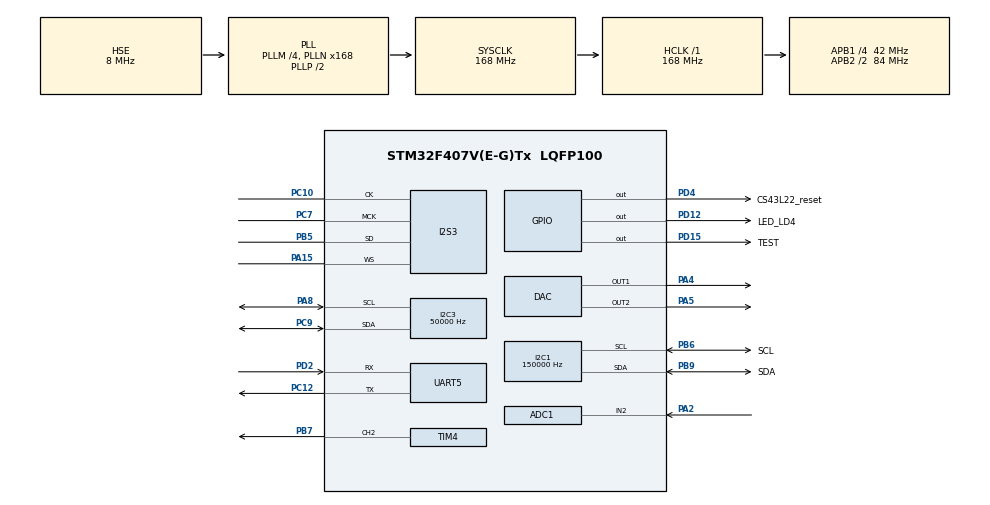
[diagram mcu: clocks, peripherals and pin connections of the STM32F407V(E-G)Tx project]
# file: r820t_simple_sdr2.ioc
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ADC1.Channel-2\#ChannelRegularConversion=ADC_CHANNEL_2
ADC1.DMAContinuousRequests=ENABLE
ADC1.ExternalTrigConv=ADC_EXTERNALTRIGCONV_T3_TRGO
ADC1.NbrOfConversion=1
ADC1.NbrOfConversionFlag=1
ADC1.Rank-2\#ChannelRegularConversion=1
ADC1.SamplingTime-2\#ChannelRegularConversion=ADC_SAMPLETIME_3CYCLES
ADC1.master=1
Dma.ADC1.1.Direction=DMA_PERIPH_TO_MEMORY
Dma.ADC1.1.FIFOMode=DMA_FIFOMODE_ENABLE
Dma.ADC1.1.FIFOThreshold=DMA_FIFO_THRESHOLD_HALFFULL
Dma.ADC1.1.Instance=DMA2_Stream0
Dma.ADC1.1.MemBurst=DMA_MBURST_SINGLE
Dma.ADC1.1.MemDataAlignment=DMA_MDATAALIGN_WORD
Dma.ADC1.1.MemInc=DMA_MINC_ENABLE
Dma.ADC1.1.Mode=DMA_CIRCULAR
Dma.ADC1.1.PeriphBurst=DMA_PBURST_SINGLE
Dma.ADC1.1.PeriphDataAlignment=DMA_PDATAALIGN_WORD
Dma.ADC1.1.PeriphInc=DMA_PINC_DISABLE
Dma.ADC1.1.Priority=DMA_PRIORITY_LOW
Dma.Request0=SPI3_TX
Dma.Request1=ADC1
Dma.SPI3_TX.0.Direction=DMA_MEMORY_TO_PERIPH
Dma.SPI3_TX.0.FIFOMode=DMA_FIFOMODE_ENABLE
Dma.SPI3_TX.0.FIFOThreshold=DMA_FIFO_THRESHOLD_FULL
Dma.SPI3_TX.0.Instance=DMA1_Stream5
Dma.SPI3_TX.0.MemBurst=DMA_MBURST_SINGLE
Dma.SPI3_TX.0.MemDataAlignment=DMA_MDATAALIGN_HALFWORD
Dma.SPI3_TX.0.MemInc=DMA_MINC_ENABLE
Dma.SPI3_TX.0.Mode=DMA_CIRCULAR
Dma.SPI3_TX.0.PeriphBurst=DMA_PBURST_SINGLE
Dma.SPI3_TX.0.PeriphDataAlignment=DMA_PDATAALIGN_HALFWORD
Dma.SPI3_TX.0.PeriphInc=DMA_PINC_DISABLE
Dma.SPI3_TX.0.Priority=DMA_PRIORITY_LOW
I2C1.ClockSpeed=150000
I2C1.I2C_Mode=I2C_Fast
I2C3.ClockSpeed=50000
I2S3.AudioFreq=I2S_AUDIOFREQ_96K
I2S3.ErrorAudioFreq=-2.34 %
I2S3.FullDuplexMode=I2S_FULLDUPLEXMODE_DISABLE
I2S3.Instance=SPI$Index
I2S3.RealAudioFreq=93.75 KHz
I2S3.VirtualMode=I2S_MODE_MASTER
Mcu.Family=STM32F4
Mcu.Name=STM32F407V(E-G)Tx
Mcu.Package=LQFP100
NVIC.DMA1_Stream5_IRQn=true\:0\:0\:false\:false\:true\:false\:true\:true
NVIC.DMA2_Stream0_IRQn=true\:0\:0\:false\:false\:true\:false\:true\:true
NVIC.PriorityGroup=NVIC_PRIORITYGROUP_4
NVIC.UART5_IRQn=true\:0\:0\:false\:false\:true\:true\:true\:true
PA15.Mode=Half_Duplex_Master
PA15.Signal=I2S3_WS
PA2.Signal=ADCx_IN2
PA4.Signal=COMP_DAC1_group
PA5.Signal=COMP_DAC2_group
PA8.Mode=I2C
PA8.Signal=I2C3_SCL
PB5.Mode=Half_Duplex_Master
PB5.Signal=I2S3_SD
PB6.GPIO_Label=SCL
PB6.Mode=I2C
PB6.Signal=I2C1_SCL
PB7.Signal=S_TIM4_CH2
PB9.GPIO_Label=SDA
PB9.Mode=I2C
PB9.Signal=I2C1_SDA
PC10.Mode=Half_Duplex_Master
PC10.Signal=I2S3_CK
PC12.Mode=Asynchronous
PC12.Signal=UART5_TX
PC7.Mode=Master_Clock_Activated
PC7.Signal=I2S3_MCK
PC9.Mode=I2C
PC9.Signal=I2C3_SDA
PD12.GPIO_Label=LED_LD4
PD12.PinState=GPIO_PIN_SET
PD12.Signal=GPIO_Output
PD15.GPIO_Label=TEST
PD15.GPIO_Speed=GPIO_SPEED_FREQ_VERY_HIGH
PD15.Signal=GPIO_Output
PD2.Mode=Asynchronous
PD2.Signal=UART5_RX
PD4.GPIO_Label=CS43L22_reset
PD4.Signal=GPIO_Output
PH0-OSC_IN.Mode=HSE-External-Oscillator
PH0-OSC_IN.Signal=RCC_OSC_IN
PH1-OSC_OUT.Mode=HSE-External-Oscillator
PH1-OSC_OUT.Signal=RCC_OSC_OUT
ProjectManager.HeapSize=0x200
ProjectManager.StackSize=0x400
ProjectManager.TargetToolchain=STM32CubeIDE
RCC.48MHZClocksFreq_Value=84000000
RCC.AHBFreq_Value=168000000
RCC.APB1CLKDivider=RCC_HCLK_DIV4
RCC.APB1Freq_Value=42000000
RCC.APB1TimFreq_Value=84000000
RCC.APB2CLKDivider=RCC_HCLK_DIV2
RCC.APB2Freq_Value=84000000
RCC.APB2TimFreq_Value=168000000
RCC.CortexFreq_Value=168000000
RCC.HCLKFreq_Value=168000000
RCC.HSE_VALUE=8000000
RCC.HSI_VALUE=16000000
RCC.LSE_VALUE=32768
RCC.PLLM=4
RCC.PLLN=168
RCC.PLLSourceVirtual=RCC_PLLSOURCE_HSE
RCC.SYSCLKFreq_VALUE=168000000
RCC.SYSCLKSource=RCC_SYSCLKSOURCE_PLLCLK
RCC.VCOOutputFreq_Value=336000000
SH.ADCx_IN2.0=ADC1_IN2,IN2
SH.COMP_DAC1_group.0=DAC_OUT1,DAC_OUT1
SH.COMP_DAC2_group.0=DAC_OUT2,DAC_OUT2
SH.S_TIM4_CH2.0=TIM4_CH2,PWM Generation2 CH2
TIM3.AutoReloadPreload=TIM_AUTORELOAD_PRELOAD_ENABLE
TIM3.ClockDivision=TIM_CLOCKDIVISION_DIV1
TIM3.CounterMode=TIM_COUNTERMODE_DOWN
TIM3.Period=98
TIM3.Prescaler=0
TIM3.TIM_MasterOutputTrigger=TIM_TRGO_UPDATE
TIM4.AutoReloadPreload=TIM_AUTORELOAD_PRELOAD_ENABLE
TIM4.Channel-PWM\ Generation2\ CH2=TIM_CHANNEL_2
TIM4.Period=8191
TIM4.Prescaler=0
TIM4.Pulse-PWM\ Generation2\ CH2=0
UART5.VirtualMode=Asynchronous
VP_TIM3_VS_ClockSourceINT.Mode=Internal
VP_TIM4_VS_ClockSourceINT.Mode=Internal
board=custom

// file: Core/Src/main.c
/* USER CODE BEGIN Header */
/*
 * STM32F030 driver for R820T2
 * E. Brombaugh 02-12-2017
 * 02-08-2025 Maciej Fajfer - porting to STM32F407, modifications, improvements and Software Defined Radio code
 */
/**
  ******************************************************************************
  * @file           : main.c
  * @brief          : Main program body
  ******************************************************************************
  * @attention
  *
  * Copyright (c) 2025 STMicroelectronics.
  * All rights reserved.
  *
  * This software is licensed under terms that can be found in the LICENSE file
  * in the root directory of this software component.
  * If no LICENSE file comes with this software, it is provided AS-IS.
  *
  ******************************************************************************
  */
/* USER CODE END Header */
#include "main.h"

/* USER CODE BEGIN Includes */
#include <string.h>
#include <stdlib.h>
#include <stdio.h>
#include <math.h>
#include "led.h"
#include "usart.h"
#include "printf.h"
#include "r820t2.h"
#include "cmd.h"
#include "MY_CS43L22.h"
/* USER CODE END Includes */

ADC_HandleTypeDef hadc1;
DMA_HandleTypeDef hdma_adc1;

DAC_HandleTypeDef hdac;

I2C_HandleTypeDef hi2c1;
I2C_HandleTypeDef hi2c3;

I2S_HandleTypeDef hi2s3;
DMA_HandleTypeDef hdma_spi3_tx;

TIM_HandleTypeDef htim3;
TIM_HandleTypeDef htim4;

UART_HandleTypeDef huart5;

/* USER CODE BEGIN PV */
extern uint8_t rxchar;
int16_t dataI2S[4]; //dummy array for I2S
uint32_t v_in_samples[8]; //IF samples array for ADC

//sine, cosine and arsine look-up tables
float sine_arr[N_cos_sin];
float cosine_arr[N_cos_sin];
float asin_arr[N_asin];

extern Output_demod_type_enum Demod_Type;
extern float b[];
extern float a[];
/* USER CODE END PV */

void SystemClock_Config(void);
static void MX_GPIO_Init(void);
static void MX_DMA_Init(void);
static void MX_I2C1_Init(void);
static void MX_I2S3_Init(void);
static void MX_ADC1_Init(void);
static void MX_TIM3_Init(void);
static void MX_I2C3_Init(void);
static void MX_DAC_Init(void);
static void MX_UART5_Init(void);
static void MX_TIM4_Init(void);

int main(void)
{
  /* USER CODE BEGIN 1 */
	//uint8_t regs[32], reg;
	int rxchar_loc;
	uint32_t tick;
  /* USER CODE END 1 */

  /* MCU Configuration--------------------------------------------------------*/

  /* Reset of all peripherals, Initializes the Flash interface and the Systick. */
  HAL_Init();

  /* Configure the system clock */
  SystemClock_Config();

  /* Initialize all configured peripherals */
  MX_GPIO_Init();
  MX_DMA_Init();
  MX_I2C1_Init();
  MX_I2S3_Init();
  MX_ADC1_Init();
  MX_TIM3_Init();
  MX_I2C3_Init();
  MX_DAC_Init();
  MX_UART5_Init();
  MX_TIM4_Init();
  /* USER CODE BEGIN 2 */

  usart_init(&huart5);
  HAL_UART_Receive_IT(&huart5, (uint8_t*) &rxchar, 1);

  /* Startup message */
  UART_printf("\r\n");
  UART_printf("+------------------------------------+\r\n");
  UART_printf("|     Experimental SDR receiver      |\r\n");
  UART_printf("| based on the STM32F407 and R820T2. |\r\n");
  UART_printf("+------------------------------------+\r\n");

  /* init R820T2 */
  R820T2_init(hi2c3);
  R820T2_set_mixer_agc(1);
  R820T2_set_lna_agc(1);

  //R820T2_set_vga_gain_VGA_code(14);
  R820T2_config_VAGC_pin(1); //Enable VAGC pin
  HAL_TIM_PWM_Start(&htim4, TIM_CHANNEL_2); //starting PWM for VAGC pin voltage settings
  R820T2_set_vga_gain_VAGC_pin(48.0); //dB

  UART_printf("R820T2 initialized.\r\n");

  //init CS43L22
  CS43_Init(hi2c1, MODE_ANALOG_);
  CS43_SetVolume(CS43_default_vol); //maximum value without distortion for 3.00 Vpp from DAC is CS43_default_vol=48 for DISCOVERY BOARD
  CS43_Enable_RightLeft(CS43_RIGHT_LEFT);
  CS43_Start();
  UART_printf("CS43L22 initialized.\r\n");

  //TIM3_clk=84 MHz; ARR=98 -> FS_uint_kHz=ceil(TIM3_clk*1000/ARR)=858 kHz
  //F_IF=260 kHz after band pass sampling
  //FS_uint_kHz/F_IF=858/260=33/10 so Step_cos_sin=10 is step and after that is adding modulo N_cos_sin=33 k=mod(k+Step_cos_sin, N_cos_sin)
  float dx = 2.0*M_PI / N_cos_sin; //N_cos_sin=33 samples per sine/cosine period is enough
  uint8_t k = 0;
  for (uint8_t i=0; i<N_cos_sin; i++)
  {
	  sine_arr[i] = sinf(dx*k); //calculating look-up tables with reordering
	  cosine_arr[i] = cosf(dx*k);
	  k = (k + Step_cos_sin) % N_cos_sin; //adding modulo N_cos_sin=33 - unnecessary during real time computing so it can be replace just by counter increment
  }

  dx = 2.0 / N_asin; //step 1-(-1) / N_asin
  for (uint8_t i=0; i<N_asin; i++) asin_arr[i] = asinf(dx*i - 1.0); //calculating look-up table for arsine (needed for FM)

  set_IQ_filters_coeff(b, a, Demod_Type);

  HAL_DAC_Start(&hdac, DAC_CHANNEL_1);
  HAL_DAC_Start(&hdac, DAC_CHANNEL_2);
  HAL_I2S_Transmit_DMA(&hi2s3, (uint16_t *)dataI2S, 4); //starting I2S 16-bits dummy words sending with circular buffer just for MCLK clock for CS43L22

  HAL_TIM_Base_Start(&htim3); //starting timer for ADC triggering
  HAL_ADC_Start_DMA(&hadc1, v_in_samples, 8); //starting DMA for ADC with circular buffer

  /* USER CODE END 2 */

  /* Infinite loop */
  /* USER CODE BEGIN WHILE */
  init_cmd();
  tick = HAL_GetTick() + 100;
  while (1)
  {
    /* USER CODE END WHILE */

    /* USER CODE BEGIN 3 */

	/* UART command processing */
	if((rxchar_loc = usart_getc())!= EOF)
	{
		/* Parse commands */
		cmd_parse(rxchar_loc);
	}

	/* nonblocking wait to flash light */
	if(tick < HAL_GetTick())
	{
		  led_toggle(LED1);
		  tick = HAL_GetTick() + 100;
	}

  }
  /* USER CODE END 3 */
}

void SystemClock_Config(void)
{
  RCC_OscInitTypeDef RCC_OscInitStruct = {0};
  RCC_ClkInitTypeDef RCC_ClkInitStruct = {0};

  /** Configure the main internal regulator output voltage
  */
  __HAL_RCC_PWR_CLK_ENABLE();
  __HAL_PWR_VOLTAGESCALING_CONFIG(PWR_REGULATOR_VOLTAGE_SCALE1);

  /** Initializes the RCC Oscillators according to the specified parameters
  * in the RCC_OscInitTypeDef structure.
  */
  RCC_OscInitStruct.OscillatorType = RCC_OSCILLATORTYPE_HSE;
  RCC_OscInitStruct.HSEState = RCC_HSE_ON;
  RCC_OscInitStruct.PLL.PLLState = RCC_PLL_ON;
  RCC_OscInitStruct.PLL.PLLSource = RCC_PLLSOURCE_HSE;
  RCC_OscInitStruct.PLL.PLLM = 4;
  RCC_OscInitStruct.PLL.PLLN = 168;
  RCC_OscInitStruct.PLL.PLLP = RCC_PLLP_DIV2;
  RCC_OscInitStruct.PLL.PLLQ = 4;
  if (HAL_RCC_OscConfig(&RCC_OscInitStruct) != HAL_OK)
  {
    Error_Handler();
  }

  /** Initializes the CPU, AHB and APB buses clocks
  */
  RCC_ClkInitStruct.ClockType = RCC_CLOCKTYPE_HCLK|RCC_CLOCKTYPE_SYSCLK
                              |RCC_CLOCKTYPE_PCLK1|RCC_CLOCKTYPE_PCLK2;
  RCC_ClkInitStruct.SYSCLKSource = RCC_SYSCLKSOURCE_PLLCLK;
  RCC_ClkInitStruct.AHBCLKDivider = RCC_SYSCLK_DIV1;
  RCC_ClkInitStruct.APB1CLKDivider = RCC_HCLK_DIV4;
  RCC_ClkInitStruct.APB2CLKDivider = RCC_HCLK_DIV2;

  if (HAL_RCC_ClockConfig(&RCC_ClkInitStruct, FLASH_LATENCY_5) != HAL_OK)
  {
    Error_Handler();
  }
}

static void MX_ADC1_Init(void)
{

  ADC_ChannelConfTypeDef sConfig = {0};

  /** Configure the global features of the ADC (Clock, Resolution, Data Alignment and number of conversion)
  */
  hadc1.Instance = ADC1;
  hadc1.Init.ClockPrescaler = ADC_CLOCK_SYNC_PCLK_DIV4;
  hadc1.Init.Resolution = ADC_RESOLUTION_12B;
  hadc1.Init.ScanConvMode = DISABLE;
  hadc1.Init.ContinuousConvMode = DISABLE;
  hadc1.Init.DiscontinuousConvMode = DISABLE;
  hadc1.Init.ExternalTrigConvEdge = ADC_EXTERNALTRIGCONVEDGE_RISING;
  hadc1.Init.ExternalTrigConv = ADC_EXTERNALTRIGCONV_T3_TRGO;
  hadc1.Init.DataAlign = ADC_DATAALIGN_RIGHT;
  hadc1.Init.NbrOfConversion = 1;
  hadc1.Init.DMAContinuousRequests = ENABLE;
  hadc1.Init.EOCSelection = ADC_EOC_SINGLE_CONV;
  if (HAL_ADC_Init(&hadc1) != HAL_OK)
  {
    Error_Handler();
  }

  /** Configure for the selected ADC regular channel its corresponding rank in the sequencer and its sample time.
  */
  sConfig.Channel = ADC_CHANNEL_2;
  sConfig.Rank = 1;
  sConfig.SamplingTime = ADC_SAMPLETIME_3CYCLES;
  if (HAL_ADC_ConfigChannel(&hadc1, &sConfig) != HAL_OK)
  {
    Error_Handler();
  }

}

static void MX_DAC_Init(void)
{

  DAC_ChannelConfTypeDef sConfig = {0};

  /** DAC Initialization
  */
  hdac.Instance = DAC;
  if (HAL_DAC_Init(&hdac) != HAL_OK)
  {
    Error_Handler();
  }

  /** DAC channel OUT1 config
  */
  sConfig.DAC_Trigger = DAC_TRIGGER_NONE;
  sConfig.DAC_OutputBuffer = DAC_OUTPUTBUFFER_ENABLE;
  if (HAL_DAC_ConfigChannel(&hdac, &sConfig, DAC_CHANNEL_1) != HAL_OK)
  {
    Error_Handler();
  }

  /** DAC channel OUT2 config
  */
  if (HAL_DAC_ConfigChannel(&hdac, &sConfig, DAC_CHANNEL_2) != HAL_OK)
  {
    Error_Handler();
  }

}

static void MX_I2C1_Init(void)
{

  hi2c1.Instance = I2C1;
  hi2c1.Init.ClockSpeed = 150000;
  hi2c1.Init.DutyCycle = I2C_DUTYCYCLE_2;
  hi2c1.Init.OwnAddress1 = 0;
  hi2c1.Init.AddressingMode = I2C_ADDRESSINGMODE_7BIT;
  hi2c1.Init.DualAddressMode = I2C_DUALADDRESS_DISABLE;
  hi2c1.Init.OwnAddress2 = 0;
  hi2c1.Init.GeneralCallMode = I2C_GENERALCALL_DISABLE;
  hi2c1.Init.NoStretchMode = I2C_NOSTRETCH_DISABLE;
  if (HAL_I2C_Init(&hi2c1) != HAL_OK)
  {
    Error_Handler();
  }

}

static void MX_I2C3_Init(void)
{

  hi2c3.Instance = I2C3;
  hi2c3.Init.ClockSpeed = 50000;
  hi2c3.Init.DutyCycle = I2C_DUTYCYCLE_2;
  hi2c3.Init.OwnAddress1 = 0;
  hi2c3.Init.AddressingMode = I2C_ADDRESSINGMODE_7BIT;
  hi2c3.Init.DualAddressMode = I2C_DUALADDRESS_DISABLE;
  hi2c3.Init.OwnAddress2 = 0;
  hi2c3.Init.GeneralCallMode = I2C_GENERALCALL_DISABLE;
  hi2c3.Init.NoStretchMode = I2C_NOSTRETCH_DISABLE;
  if (HAL_I2C_Init(&hi2c3) != HAL_OK)
  {
    Error_Handler();
  }

}

static void MX_I2S3_Init(void)
{

  hi2s3.Instance = SPI3;
  hi2s3.Init.Mode = I2S_MODE_MASTER_TX;
  hi2s3.Init.Standard = I2S_STANDARD_PHILIPS;
  hi2s3.Init.DataFormat = I2S_DATAFORMAT_16B;
  hi2s3.Init.MCLKOutput = I2S_MCLKOUTPUT_ENABLE;
  hi2s3.Init.AudioFreq = I2S_AUDIOFREQ_96K;
  hi2s3.Init.CPOL = I2S_CPOL_LOW;
  hi2s3.Init.ClockSource = I2S_CLOCK_PLL;
  hi2s3.Init.FullDuplexMode = I2S_FULLDUPLEXMODE_DISABLE;
  if (HAL_I2S_Init(&hi2s3) != HAL_OK)
  {
    Error_Handler();
  }

}

static void MX_TIM3_Init(void)
{

  TIM_ClockConfigTypeDef sClockSourceConfig = {0};
  TIM_MasterConfigTypeDef sMasterConfig = {0};

  htim3.Instance = TIM3;
  htim3.Init.Prescaler = 0;
  htim3.Init.CounterMode = TIM_COUNTERMODE_DOWN;
  htim3.Init.Period = 98;
  htim3.Init.ClockDivision = TIM_CLOCKDIVISION_DIV1;
  htim3.Init.AutoReloadPreload = TIM_AUTORELOAD_PRELOAD_ENABLE;
  if (HAL_TIM_Base_Init(&htim3) != HAL_OK)
  {
    Error_Handler();
  }
  sClockSourceConfig.ClockSource = TIM_CLOCKSOURCE_INTERNAL;
  if (HAL_TIM_ConfigClockSource(&htim3, &sClockSourceConfig) != HAL_OK)
  {
    Error_Handler();
  }
  sMasterConfig.MasterOutputTrigger = TIM_TRGO_UPDATE;
  sMasterConfig.MasterSlaveMode = TIM_MASTERSLAVEMODE_DISABLE;
  if (HAL_TIMEx_MasterConfigSynchronization(&htim3, &sMasterConfig) != HAL_OK)
  {
    Error_Handler();
  }

}

static void MX_TIM4_Init(void)
{

  TIM_ClockConfigTypeDef sClockSourceConfig = {0};
  TIM_MasterConfigTypeDef sMasterConfig = {0};
  TIM_OC_InitTypeDef sConfigOC = {0};

  htim4.Instance = TIM4;
  htim4.Init.Prescaler = 0;
  htim4.Init.CounterMode = TIM_COUNTERMODE_UP;
  htim4.Init.Period = 8191;
  htim4.Init.ClockDivision = TIM_CLOCKDIVISION_DIV1;
  htim4.Init.AutoReloadPreload = TIM_AUTORELOAD_PRELOAD_ENABLE;
  if (HAL_TIM_Base_Init(&htim4) != HAL_OK)
  {
    Error_Handler();
  }
  sClockSourceConfig.ClockSource = TIM_CLOCKSOURCE_INTERNAL;
  if (HAL_TIM_ConfigClockSource(&htim4, &sClockSourceConfig) != HAL_OK)
  {
    Error_Handler();
  }
  if (HAL_TIM_PWM_Init(&htim4) != HAL_OK)
  {
    Error_Handler();
  }
  sMasterConfig.MasterOutputTrigger = TIM_TRGO_RESET;
  sMasterConfig.MasterSlaveMode = TIM_MASTERSLAVEMODE_DISABLE;
  if (HAL_TIMEx_MasterConfigSynchronization(&htim4, &sMasterConfig) != HAL_OK)
  {
    Error_Handler();
  }
  sConfigOC.OCMode = TIM_OCMODE_PWM1;
  sConfigOC.Pulse = 0;
  sConfigOC.OCPolarity = TIM_OCPOLARITY_HIGH;
  sConfigOC.OCFastMode = TIM_OCFAST_DISABLE;
  if (HAL_TIM_PWM_ConfigChannel(&htim4, &sConfigOC, TIM_CHANNEL_2) != HAL_OK)
  {
    Error_Handler();
  }
  HAL_TIM_MspPostInit(&htim4);

}

static void MX_UART5_Init(void)
{

  huart5.Instance = UART5;
  huart5.Init.BaudRate = 115200;
  huart5.Init.WordLength = UART_WORDLENGTH_8B;
  huart5.Init.StopBits = UART_STOPBITS_1;
  huart5.Init.Parity = UART_PARITY_NONE;
  huart5.Init.Mode = UART_MODE_TX_RX;
  huart5.Init.HwFlowCtl = UART_HWCONTROL_NONE;
  huart5.Init.OverSampling = UART_OVERSAMPLING_16;
  if (HAL_UART_Init(&huart5) != HAL_OK)
  {
    Error_Handler();
  }

}

static void MX_DMA_Init(void)
{

  /* DMA controller clock enable */
  __HAL_RCC_DMA1_CLK_ENABLE();
  __HAL_RCC_DMA2_CLK_ENABLE();

  /* DMA interrupt init */
  /* DMA1_Stream5_IRQn interrupt configuration */
  HAL_NVIC_SetPriority(DMA1_Stream5_IRQn, 0, 0);
  HAL_NVIC_EnableIRQ(DMA1_Stream5_IRQn);
  /* DMA2_Stream0_IRQn interrupt configuration */
  HAL_NVIC_SetPriority(DMA2_Stream0_IRQn, 0, 0);
  HAL_NVIC_EnableIRQ(DMA2_Stream0_IRQn);

}

static void MX_GPIO_Init(void)
{
  GPIO_InitTypeDef GPIO_InitStruct = {0};

  /* GPIO Ports Clock Enable */
  __HAL_RCC_GPIOH_CLK_ENABLE();
  __HAL_RCC_GPIOA_CLK_ENABLE();
  __HAL_RCC_GPIOD_CLK_ENABLE();
  __HAL_RCC_GPIOC_CLK_ENABLE();
  __HAL_RCC_GPIOB_CLK_ENABLE();

  /*Configure GPIO pin Output Level */
  HAL_GPIO_WritePin(LED_LD4_GPIO_Port, LED_LD4_Pin, GPIO_PIN_SET);

  /*Configure GPIO pin Output Level */
  HAL_GPIO_WritePin(GPIOD, TEST_Pin|CS43L22_reset_Pin, GPIO_PIN_RESET);

  /*Configure GPIO pins : LED_LD4_Pin CS43L22_reset_Pin */
  GPIO_InitStruct.Pin = LED_LD4_Pin|CS43L22_reset_Pin;
  GPIO_InitStruct.Mode = GPIO_MODE_OUTPUT_PP;
  GPIO_InitStruct.Pull = GPIO_NOPULL;
  GPIO_InitStruct.Speed = GPIO_SPEED_FREQ_LOW;
  HAL_GPIO_Init(GPIOD, &GPIO_InitStruct);

  /*Configure GPIO pin : TEST_Pin */
  GPIO_InitStruct.Pin = TEST_Pin;
  GPIO_InitStruct.Mode = GPIO_MODE_OUTPUT_PP;
  GPIO_InitStruct.Pull = GPIO_NOPULL;
  GPIO_InitStruct.Speed = GPIO_SPEED_FREQ_VERY_HIGH;
  HAL_GPIO_Init(TEST_GPIO_Port, &GPIO_InitStruct);

}

void Error_Handler(void)
{
  __disable_irq();
  while (1)
  {
  }
}
